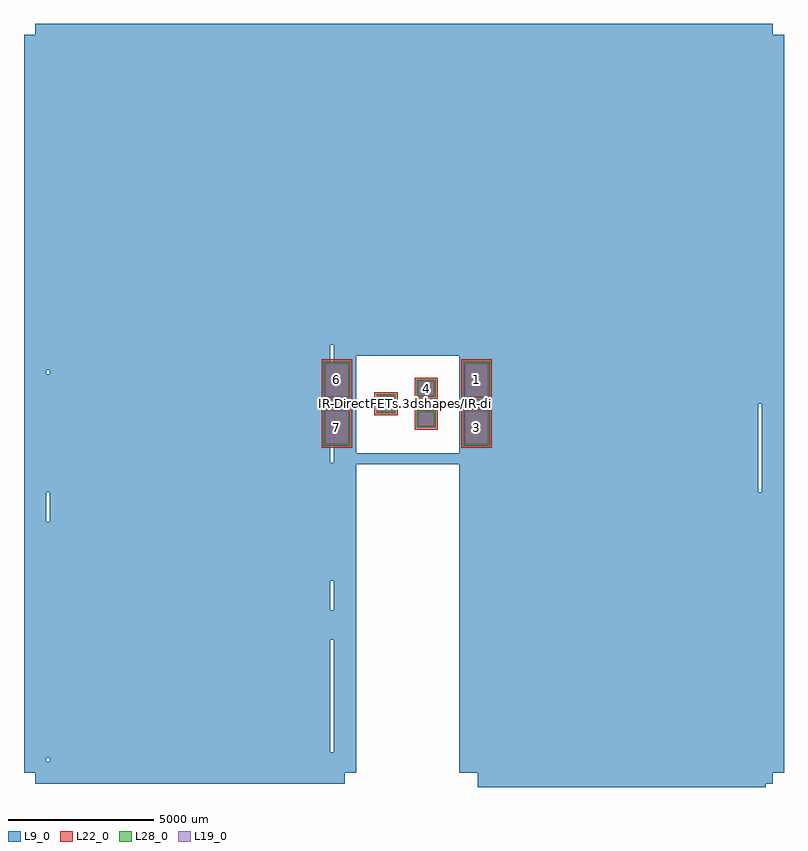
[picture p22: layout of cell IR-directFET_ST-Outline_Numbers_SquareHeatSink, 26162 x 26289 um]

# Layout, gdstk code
import gdstk
lib = gdstk.Library(unit=1e-6, precision=1e-09)
def R(c, l, rs):  # rectangles x0, y0, x1, y1
    for r in rs: c.add(gdstk.rectangle(r[:2], r[2:], *l))
L9_0 = (9, 0)
L19_0 = (19, 0)
L22_0 = (22, 0)
L28_0 = (28, 0)

ir_directfet_st_outline_ = lib.new_cell('IR-directFET_ST-Outline_Numbers_SquareHeatSink')
R(ir_directfet_st_outline_, L19_0, [(-2708.44,-1395.26,-1909.28,-245.58), (2099.78,-1395.26,2898.94,-245.58), (494.5,-770.42,1044.74,-270.98), (-894.88,-275.12,-344.64,275.12), (-2708.44,245.58,-1909.28,1395.26), (2099.78,245.58,2898.94,1395.26), (494.5,270.98,1044.74,770.42)])
R(ir_directfet_st_outline_, L22_0, [(-2833.44,-1520.26,-1784.28,-120.58), (1974.78,-1520.26,3023.94,-120.58), (369.5,-895.42,1169.74,-145.98), (-1019.88,-400.12,-219.64,400.12), (-2833.44,120.58,-1784.28,1520.26), (1974.78,120.58,3023.94,1520.26), (369.5,145.98,1169.74,895.42)])
R(ir_directfet_st_outline_, L28_0, [(-2758.44,-1445.26,-1859.28,-195.58), (2049.78,-1445.26,2948.94,-195.58), (444.5,-820.42,1094.74,-220.98), (-944.88,-325.12,-294.64,325.12), (-2758.44,195.58,-1859.28,1445.26), (2049.78,195.58,2948.94,1445.26), (444.5,220.98,1094.74,820.42)])
ir_directfet_st_outline_.add(gdstk.FlexPath([(-1899.92,1899.92),(1899.92,1899.92)], 380.998, ends="flush", simple_path=True, layer=9, datatype=0))  # L9_0
ir_directfet_st_outline_.add(gdstk.FlexPath([(-1899.92,-1899.92),(1899.92,-1899.92)], 380.998, ends="flush", simple_path=True, layer=9, datatype=0))  # L9_0
ir_directfet_st_outline_.add(gdstk.FlexPath([(2286,-2540),(2286,-12700)], 761.998, ends="flush", simple_path=True, layer=9, datatype=0))  # L9_0
ir_directfet_st_outline_.add(gdstk.FlexPath([(-2032,-2540),(-2032,-12700)], 761.998, ends="flush", simple_path=True, layer=9, datatype=0))  # L9_0
ir_directfet_st_outline_.add(gdstk.FlexPath([(12700,-12700),(12700,-12192)], 761.998, ends="flush", simple_path=True, layer=9, datatype=0))  # L9_0
ir_directfet_st_outline_.add(gdstk.FlexPath([(12192,-12700),(12700,-12700)], 761.998, ends="flush", simple_path=True, layer=9, datatype=0))  # L9_0
ir_directfet_st_outline_.add(gdstk.FlexPath([(12700,12700),(12700,12192)], 761.998, ends="flush", simple_path=True, layer=9, datatype=0))  # L9_0
ir_directfet_st_outline_.add(gdstk.FlexPath([(12192,12700),(12700,12700)], 761.998, ends="flush", simple_path=True, layer=9, datatype=0))  # L9_0
ir_directfet_st_outline_.add(gdstk.FlexPath([(-12700,12700),(-12700,12192)], 761.998, ends="flush", simple_path=True, layer=9, datatype=0))  # L9_0
ir_directfet_st_outline_.add(gdstk.FlexPath([(-12192,12700),(-12700,12700)], 761.998, ends="flush", simple_path=True, layer=9, datatype=0))  # L9_0
ir_directfet_st_outline_.add(gdstk.FlexPath([(-12700,-12700),(-12192,-12700)], 761.998, ends="flush", simple_path=True, layer=9, datatype=0))  # L9_0
ir_directfet_st_outline_.add(gdstk.FlexPath([(-12700,-12192),(-12700,-12700)], 761.998, ends="flush", simple_path=True, layer=9, datatype=0))  # L9_0
ir_directfet_st_outline_.add(gdstk.FlexPath([(-2032,12700),(-12192,12700)], 761.998, ends="flush", simple_path=True, layer=9, datatype=0))  # L9_0
ir_directfet_st_outline_.add(gdstk.FlexPath([(-12700,12192),(-12700,-12192)], 761.998, ends="flush", simple_path=True, layer=9, datatype=0))  # L9_0
ir_directfet_st_outline_.add(gdstk.FlexPath([(-12192,-12700),(-2032,-12700)], 761.998, ends="flush", simple_path=True, layer=9, datatype=0))  # L9_0
ir_directfet_st_outline_.add(gdstk.FlexPath([(12700,-12192),(12700,12192)], 761.998, ends="flush", simple_path=True, layer=9, datatype=0))  # L9_0
ir_directfet_st_outline_.add(gdstk.FlexPath([(12192,12700),(-2032,12700)], 761.998, ends="flush", simple_path=True, layer=9, datatype=0))  # L9_0
ir_directfet_st_outline_.add(gdstk.FlexPath([(-2032,-2540),(-2032,-2032)], 761.998, ends="flush", simple_path=True, layer=9, datatype=0))  # L9_0
ir_directfet_st_outline_.add(gdstk.FlexPath([(2286,2032),(2286,-2540)], 761.998, ends="flush", simple_path=True, layer=9, datatype=0))  # L9_0
ir_directfet_st_outline_.add(gdstk.FlexPath([(-2032,2032),(2032,2032)], 761.998, ends="flush", simple_path=True, layer=9, datatype=0))  # L9_0
ir_directfet_st_outline_.add(gdstk.FlexPath([(-2032,-2032),(-2032,2032)], 761.998, ends="flush", simple_path=True, layer=9, datatype=0))  # L9_0
ir_directfet_st_outline_.add(gdstk.FlexPath([(-12446,11684),(12446,11684)], 1015.998, ends="flush", simple_path=True, layer=9, datatype=0))  # L9_0
ir_directfet_st_outline_.add(gdstk.FlexPath([(-12446,10668),(12446,10668)], 1015.998, ends="flush", simple_path=True, layer=9, datatype=0))  # L9_0
ir_directfet_st_outline_.add(gdstk.FlexPath([(-12446,9652),(12446,9652)], 1015.998, ends="flush", simple_path=True, layer=9, datatype=0))  # L9_0
ir_directfet_st_outline_.add(gdstk.FlexPath([(-12446,8636),(12446,8636)], 1015.998, ends="flush", simple_path=True, layer=9, datatype=0))  # L9_0
ir_directfet_st_outline_.add(gdstk.FlexPath([(-12446,7620),(12446,7620)], 1015.998, ends="flush", simple_path=True, layer=9, datatype=0))  # L9_0
ir_directfet_st_outline_.add(gdstk.FlexPath([(-12446,6604),(12446,6604)], 1015.998, ends="flush", simple_path=True, layer=9, datatype=0))  # L9_0
ir_directfet_st_outline_.add(gdstk.FlexPath([(-12446,5588),(12446,5588)], 1015.998, ends="flush", simple_path=True, layer=9, datatype=0))  # L9_0
ir_directfet_st_outline_.add(gdstk.FlexPath([(-12446,4572),(12446,4572)], 1015.998, ends="flush", simple_path=True, layer=9, datatype=0))  # L9_0
ir_directfet_st_outline_.add(gdstk.FlexPath([(-12446,3556),(12446,3556)], 1015.998, ends="flush", simple_path=True, layer=9, datatype=0))  # L9_0
ir_directfet_st_outline_.add(gdstk.FlexPath([(-12446,2540),(12446,2540)], 1015.998, ends="flush", simple_path=True, layer=9, datatype=0))  # L9_0
ir_directfet_st_outline_.add(gdstk.FlexPath([(-12446,1524),(-2540,1524)], 761.998, ends="flush", simple_path=True, layer=9, datatype=0))  # L9_0
ir_directfet_st_outline_.add(gdstk.FlexPath([(-12446,508),(-2286,508)], 1015.998, ends="flush", simple_path=True, layer=9, datatype=0))  # L9_0
ir_directfet_st_outline_.add(gdstk.FlexPath([(-12446,-508),(-2540,-508)], 1015.998, ends="flush", simple_path=True, layer=9, datatype=0))  # L9_0
ir_directfet_st_outline_.add(gdstk.FlexPath([(-12446,-1524),(-2540,-1524)], 1015.998, ends="flush", simple_path=True, layer=9, datatype=0))  # L9_0
ir_directfet_st_outline_.add(gdstk.FlexPath([(-12446,-2540),(-2286,-2540)], 1015.998, ends="flush", simple_path=True, layer=9, datatype=0))  # L9_0
ir_directfet_st_outline_.add(gdstk.FlexPath([(-12192,-3556),(-2286,-3556)], 1015.998, ends="flush", simple_path=True, layer=9, datatype=0))  # L9_0
ir_directfet_st_outline_.add(gdstk.FlexPath([(-12700,-4572),(-2286,-4572)], 1015.998, ends="flush", simple_path=True, layer=9, datatype=0))  # L9_0
ir_directfet_st_outline_.add(gdstk.FlexPath([(-12446,-5588),(-2286,-5588)], 1015.998, ends="flush", simple_path=True, layer=9, datatype=0))  # L9_0
ir_directfet_st_outline_.add(gdstk.FlexPath([(-12446,-6604),(-2540,-6604)], 1015.998, ends="flush", simple_path=True, layer=9, datatype=0))  # L9_0
ir_directfet_st_outline_.add(gdstk.FlexPath([(-12446,-7620),(-2286,-7620)], 1015.998, ends="flush", simple_path=True, layer=9, datatype=0))  # L9_0
ir_directfet_st_outline_.add(gdstk.FlexPath([(-12446,-8636),(-2540,-8636)], 1015.998, ends="flush", simple_path=True, layer=9, datatype=0))  # L9_0
ir_directfet_st_outline_.add(gdstk.FlexPath([(-12446,-9652),(-2540,-9652)], 1015.998, ends="flush", simple_path=True, layer=9, datatype=0))  # L9_0
ir_directfet_st_outline_.add(gdstk.FlexPath([(-12446,-10668),(-2540,-10668)], 1015.998, ends="flush", simple_path=True, layer=9, datatype=0))  # L9_0
ir_directfet_st_outline_.add(gdstk.FlexPath([(-12446,-11684),(-2540,-11684)], 1015.998, ends="flush", simple_path=True, layer=9, datatype=0))  # L9_0
ir_directfet_st_outline_.add(gdstk.FlexPath([(12446,-12700),(2540,-12700)], 1015.998, ends="flush", simple_path=True, layer=9, datatype=0))  # L9_0
ir_directfet_st_outline_.add(gdstk.FlexPath([(2540,1524),(12446,1524)], 1015.998, ends="flush", simple_path=True, layer=9, datatype=0))  # L9_0
ir_directfet_st_outline_.add(gdstk.FlexPath([(2540,508),(12446,508)], 1015.998, ends="flush", simple_path=True, layer=9, datatype=0))  # L9_0
ir_directfet_st_outline_.add(gdstk.FlexPath([(2540,-508),(12192,-508)], 1015.998, ends="flush", simple_path=True, layer=9, datatype=0))  # L9_0
ir_directfet_st_outline_.add(gdstk.FlexPath([(2540,-1524),(12192,-1524)], 1015.998, ends="flush", simple_path=True, layer=9, datatype=0))  # L9_0
ir_directfet_st_outline_.add(gdstk.FlexPath([(2540,-2540),(12192,-2540)], 1015.998, ends="flush", simple_path=True, layer=9, datatype=0))  # L9_0
ir_directfet_st_outline_.add(gdstk.FlexPath([(2540,-3556),(12446,-3556)], 1015.998, ends="flush", simple_path=True, layer=9, datatype=0))  # L9_0
ir_directfet_st_outline_.add(gdstk.FlexPath([(2540,-4572),(12446,-4572)], 1015.998, ends="flush", simple_path=True, layer=9, datatype=0))  # L9_0
ir_directfet_st_outline_.add(gdstk.FlexPath([(2540,-5588),(12446,-5588)], 1015.998, ends="flush", simple_path=True, layer=9, datatype=0))  # L9_0
ir_directfet_st_outline_.add(gdstk.FlexPath([(2540,-6604),(12446,-6604)], 1015.998, ends="flush", simple_path=True, layer=9, datatype=0))  # L9_0
ir_directfet_st_outline_.add(gdstk.FlexPath([(2540,-7620),(12446,-7620)], 1015.998, ends="flush", simple_path=True, layer=9, datatype=0))  # L9_0
ir_directfet_st_outline_.add(gdstk.FlexPath([(2540,-8636),(12446,-8636)], 1015.998, ends="flush", simple_path=True, layer=9, datatype=0))  # L9_0
ir_directfet_st_outline_.add(gdstk.FlexPath([(2540,-9652),(12446,-9652)], 1015.998, ends="flush", simple_path=True, layer=9, datatype=0))  # L9_0
ir_directfet_st_outline_.add(gdstk.FlexPath([(2540,-10668),(12446,-10668)], 1015.998, ends="flush", simple_path=True, layer=9, datatype=0))  # L9_0
ir_directfet_st_outline_.add(gdstk.FlexPath([(2540,-11684),(12446,-11684)], 1015.998, ends="flush", simple_path=True, layer=9, datatype=0))  # L9_0
ir_directfet_st_outline_.add(gdstk.FlexPath([(-12446,12192),(12446,12192)], 380.998, ends="flush", simple_path=True, layer=9, datatype=0))  # L9_0
ir_directfet_st_outline_.add(gdstk.FlexPath([(-12446,2032),(-2540,2032)], 380.998, ends="flush", simple_path=True, layer=9, datatype=0))  # L9_0
ir_directfet_st_outline_.add(gdstk.FlexPath([(-12192,1016),(-2286,1016)], 380.998, ends="flush", simple_path=True, layer=9, datatype=0))  # L9_0
ir_directfet_st_outline_.add(gdstk.FlexPath([(-12192,-12192),(-2286,-12446)], 380.998, ends="flush", simple_path=True, layer=9, datatype=0))  # L9_0
ir_directfet_st_outline_.add(gdstk.FlexPath([(-4826,-12192),(-5080,-12700)], 380.998, ends="flush", simple_path=True, layer=9, datatype=0))  # L9_0
ir_directfet_st_outline_.add(gdstk.FlexPath([(-2286,-12192),(-4826,-12192)], 380.998, ends="flush", simple_path=True, layer=9, datatype=0))  # L9_0
ir_directfet_st_outline_.add(gdstk.Label('IR-DirectFETs.3dshapes/IR-directFET_ST-Outline_Numbers_SquareHeatSink.wrl', (0,0), layer=12, texttype=0))
ir_directfet_st_outline_.add(gdstk.Label('3', (2499.36,-820.42), layer=28, texttype=0))
ir_directfet_st_outline_.add(gdstk.Label('1', (2499.36,820.42), layer=28, texttype=0))
ir_directfet_st_outline_.add(gdstk.Label('7', (-2308.86,-820.42), layer=28, texttype=0))
ir_directfet_st_outline_.add(gdstk.Label('6', (-2308.86,820.42), layer=28, texttype=0))
ir_directfet_st_outline_.add(gdstk.Label('4', (769.62,520.7), layer=28, texttype=0))
ir_directfet_st_outline_.add(gdstk.Label('5', (-619.76,0), layer=28, texttype=0))
ir_directfet_st_outline_.add(gdstk.Label('type', (0,-16256), layer=9, texttype=0))
ir_directfet_st_outline_.add(gdstk.Label('devicename', (0,14732), layer=9, texttype=0))

lib.write_gds('IR-directFET_ST-Outline_Numbers_SquareHeatSink.gds')
